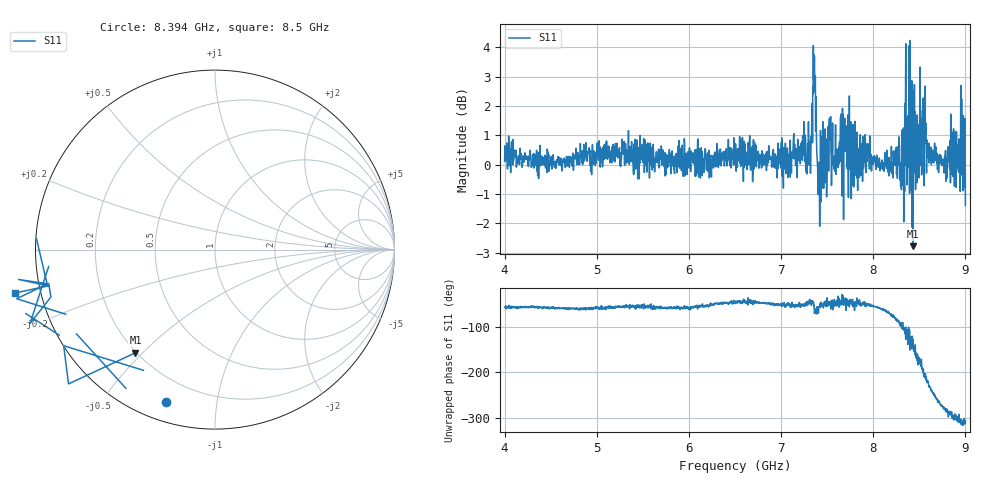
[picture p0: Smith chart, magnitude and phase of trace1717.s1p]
! Created with skrf 1.8.0 (http://scikit-rf.org).
# Hz S RI R 50.0
!freq ReS11 ImS11
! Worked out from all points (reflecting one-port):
!   1601 points, 4 GHz to 9 GHz, reference 50 ohm
!   lowest |S11| = -2.8 dB at 8.431 GHz (marker M1), VSWR 6.30, Z = 9.8 - j23.8 ohm
!   phase of S11 starts at -57 deg and turns -249 deg over the sweep
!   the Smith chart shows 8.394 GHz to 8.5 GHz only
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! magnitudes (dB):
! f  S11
! 4 GHz  0.1
! 4.625 GHz  -0.2
! 5.25 GHz  0.0
! 5.875 GHz  0.1
! 6.5 GHz  0.3
! 7.125 GHz  0.2
! 7.297 GHz  1.5
! 7.359 GHz  3.2
! 7.369 GHz  2.8
! 7.4 GHz  -1.0
! 7.412 GHz  -0.6
! 7.512 GHz  1.3
! 7.594 GHz  -0.1
! 7.666 GHz  1.9
! 7.75 GHz  -0.1
! 8.259 GHz  0.1
! 8.316 GHz  0.2
! 8.328 GHz  1.3
! 8.375 GHz  0.2
! 8.431 GHz  -2.8
! 8.447 GHz  2.7
! 8.459 GHz  -0.9
! 8.475 GHz  -0.6
! 8.556 GHz  2.3
! 8.603 GHz  0.7
! 8.778 GHz  0.2
! 8.972 GHz  0.4
! 9 GHz  -1.4
